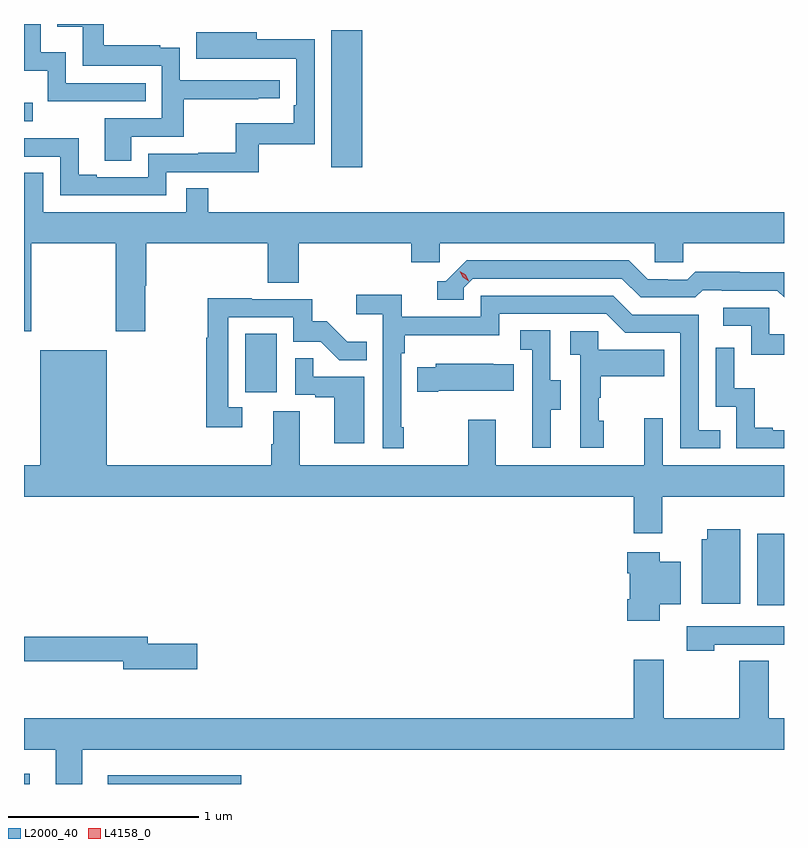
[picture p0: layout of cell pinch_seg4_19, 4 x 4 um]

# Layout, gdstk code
import gdstk
lib = gdstk.Library(unit=1e-6, precision=1e-09)
def R(c, l, rs):  # rectangles x0, y0, x1, y1
    for r in rs: c.add(gdstk.rectangle(r[:2], r[2:], *l))
def P(c, l, *ps):  # polygons
    for p in ps: c.add(gdstk.Polygon(p, *l))
L2000_40 = (2000, 40)
L4158_0 = (4158, 0)

pinch_seg4_19 = lib.new_cell('pinch_seg4_19')
R(pinch_seg4_19, L2000_40, [(1088.563,828.607,1088.593,828.661), (1089.005,828.607,1089.706,828.652), (1092.422,829.548,1092.563,829.924), (1089.728,830.67,1089.892,830.977), (1090.181,831.852,1090.342,832.573), (1088.563,832.095,1088.608,832.192)])
P(pinch_seg4_19, L2000_40, [(1089.127,832.014),(1089.404,832.014),(1089.404,832.21),(1089.797,832.21),(1089.797,832.215),(1089.91,832.215),(1089.91,832.311),(1089.384,832.311),(1089.384,832.483),(1089.281,832.483),(1089.281,832.495),(1088.983,832.495),(1088.983,832.607),(1088.737,832.607),(1088.737,832.592),(1088.872,832.592),(1088.872,832.386),(1089.288,832.386),(1089.288,832.11),(1088.987,832.11),(1088.987,831.886),(1089.127,831.886)],
  [(1089.203,832.296),(1088.784,832.296),(1088.784,832.459),(1088.652,832.459),(1088.652,832.607),(1088.563,832.607),(1088.563,832.361),(1088.688,832.361),(1088.688,832.2),(1089.203,832.2)],
  [(1089.312,831.828),(1089.799,831.828),(1089.799,831.975),(1090.092,831.975),(1090.092,832.526),(1089.787,832.526),(1089.787,832.564),(1089.469,832.564),(1089.469,832.424),(1089.683,832.424),(1089.683,832.425),(1089.996,832.425),(1089.996,832.18),(1089.983,832.18),(1089.983,832.084),(1089.678,832.084),(1089.678,831.929),(1089.481,831.929),(1089.481,831.924),(1089.216,831.924),(1089.216,831.801),(1088.947,831.801),(1088.947,831.814),(1088.851,831.814),(1088.851,832.007),(1088.646,832.007),(1088.646,832.005),(1088.563,832.005),(1088.563,831.909),(1088.754,831.909),(1088.754,831.705),(1089.312,831.705)],
  [(1088.601,831.452),(1089.046,831.452),(1089.046,830.991),(1089.201,830.991),(1089.201,831.23),(1089.206,831.23),(1089.206,831.452),(1089.845,831.452),(1089.845,831.244),(1090.01,831.244),(1090.01,831.452),(1090.601,831.452),(1090.601,831.354),(1090.752,831.354),(1090.752,831.452),(1091.883,831.452),(1091.883,831.354),(1092.033,831.354),(1092.033,831.452),(1092.563,831.452),(1092.563,831.616),(1089.533,831.616),(1089.533,831.743),(1089.417,831.743),(1089.417,831.616),(1088.665,831.616),(1088.665,831.824),(1088.563,831.824),(1088.563,830.991),(1088.601,830.991)],
  [(1090.878,831.219),(1090.926,831.267),(1091.709,831.267),(1091.808,831.168),(1092.097,831.168),(1092.136,831.207),(1092.235,831.207),(1092.235,831.204),(1092.528,831.204),(1092.563,831.169),(1092.563,831.301),(1092.33,831.301),(1092.33,831.304),(1092.097,831.304),(1092.055,831.261),(1091.952,831.261),(1091.952,831.264),(1091.845,831.264),(1091.746,831.363),(1090.893,831.363),(1090.782,831.252),(1090.739,831.252),(1090.739,831.156),(1090.878,831.156)],
  [(1090.561,830.485),(1090.548,830.485),(1090.548,830.873),(1090.568,830.873),(1090.568,830.969),(1091.064,830.969),(1091.064,831.081),(1091.628,831.081),(1091.727,830.982),(1092.018,830.982),(1092.018,830.373),(1092.227,830.373),(1092.227,830.469),(1092.114,830.469),(1092.114,831.078),(1091.764,831.078),(1091.665,831.177),(1090.968,831.177),(1090.968,831.066),(1090.55,831.066),(1090.55,831.182),(1090.311,831.182),(1090.311,831.08),(1090.452,831.08),(1090.452,830.373),(1090.561,830.373)],
  [(1089.712,830.589),(1089.639,830.589),(1089.639,831.063),(1089.981,831.063),(1089.981,830.934),(1090.125,830.934),(1090.223,830.836),(1090.367,830.836),(1090.367,830.935),(1090.263,830.935),(1090.156,831.042),(1090.08,831.042),(1090.08,831.159),(1089.761,831.159),(1089.761,831.164),(1089.531,831.164),(1089.531,830.956),(1089.523,830.956),(1089.523,830.484),(1089.712,830.484)],
  [(1092.563,830.973),(1092.486,830.973),(1092.486,831.114),(1092.243,831.114),(1092.243,831.018),(1092.39,831.018),(1092.39,830.865),(1092.563,830.865)],
  [(1091.335,830.578),(1091.389,830.578),(1091.389,830.733),(1091.334,830.733),(1091.334,830.996),(1091.175,830.996),(1091.175,830.893),(1091.238,830.893),(1091.238,830.589),(1091.237,830.589),(1091.237,830.376),(1091.335,830.376)],
  [(1091.614,830.52),(1091.589,830.52),(1091.589,830.639),(1091.599,830.639),(1091.599,830.753),(1091.933,830.753),(1091.933,830.893),(1091.586,830.893),(1091.586,830.991),(1091.439,830.991),(1091.439,830.867),(1091.49,830.867),(1091.49,830.376),(1091.614,830.376)],
  [(1092.563,830.469),(1092.505,830.469),(1092.505,830.482),(1092.41,830.482),(1092.41,830.69),(1092.3,830.69),(1092.3,830.902),(1092.204,830.902),(1092.204,830.592),(1092.312,830.592),(1092.312,830.373),(1092.563,830.373)],
  [(1091.923,830.12),(1092.563,830.12),(1092.563,830.284),(1091.925,830.284),(1091.925,830.533),(1091.828,830.533),(1091.828,830.284),(1091.047,830.284),(1091.047,830.524),(1090.9,830.524),(1090.9,830.284),(1090.015,830.284),(1090.015,830.57),(1089.875,830.57),(1089.875,830.396),(1089.863,830.396),(1089.863,830.284),(1088.998,830.284),(1088.998,830.89),(1088.648,830.89),(1088.648,830.284),(1088.563,830.284),(1088.563,830.12),(1091.771,830.12),(1091.771,829.926),(1091.923,829.926)],
  [(1090.354,830.751),(1090.085,830.751),(1090.085,830.849),(1089.99,830.849),(1089.99,830.655),(1090.097,830.655),(1090.097,830.643),(1090.196,830.643),(1090.196,830.4),(1090.354,830.4)],
  [(1090.744,830.678),(1091.141,830.678),(1091.141,830.815),(1091.033,830.815),(1091.033,830.818),(1090.731,830.818),(1090.731,830.8),(1090.633,830.8),(1090.633,830.671),(1090.744,830.671)],
  [(1092.334,829.948),(1092.158,829.948),(1092.158,829.896),(1092.131,829.896),(1092.131,829.556),(1092.334,829.556)],
  [(1091.908,829.553),(1092.019,829.553),(1092.019,829.777),(1091.908,829.777),(1091.908,829.828),(1091.738,829.828),(1091.738,829.715),(1091.75,829.715),(1091.75,829.579),(1091.738,829.579),(1091.738,829.467),(1091.908,829.467)],
  [(1092.195,829.341),(1092.563,829.341),(1092.563,829.437),(1092.051,829.437),(1092.051,829.309),(1092.195,829.309)],
  [(1089.475,829.346),(1089.214,829.346),(1089.214,829.382),(1088.563,829.382),(1088.563,829.254),(1089.086,829.254),(1089.086,829.211),(1089.475,829.211)],
  [(1088.869,828.788),(1092.563,828.788),(1092.563,828.952),(1092.482,828.952),(1092.482,829.256),(1092.328,829.256),(1092.328,828.952),(1091.931,828.952),(1091.931,829.261),(1091.771,829.261),(1091.771,828.952),(1088.563,828.952),(1088.563,828.788),(1088.729,828.788),(1088.729,828.607),(1088.869,828.607)])
P(pinch_seg4_19, L4158_0, [(1090.903,831.254),(1090.872,831.273),(1090.856,831.306),(1090.856,831.306),(1090.856,831.306),(1090.887,831.287),(1090.903,831.254),(1090.903,831.254)])

lib.write_gds('pinch_seg4_19.gds')
